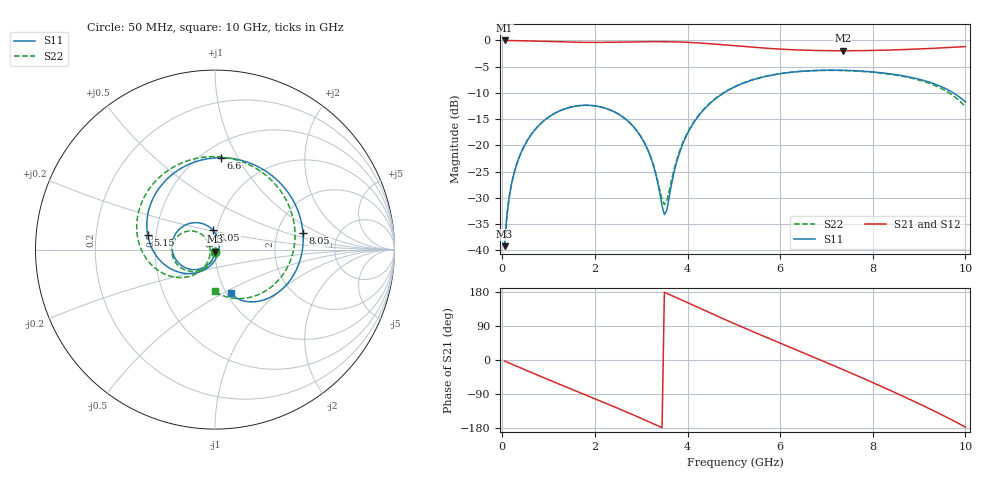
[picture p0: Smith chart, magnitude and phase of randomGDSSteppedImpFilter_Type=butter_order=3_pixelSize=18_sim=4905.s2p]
! freq	dB(S11)	phase(S11)	dB(S12)	phase(S12)
!  dB(S21)	phase(S21)	dB(S22)	phase(S22)
!S-par simulation data
#  GHz  S  DB  R 50
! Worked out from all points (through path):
!   200 points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, 50 MHz to 10 GHz, reference 50 ohm
!   highest |S21| = -0.01 dB at 50 MHz (marker M1); lowest = -2.0 dB at 7.35 GHz (marker M2)
!   group delay of S21, straight-line fit = 148 ps
!   lowest |S11| = -39.2 dB at 50 MHz (marker M3), VSWR 1.02, Z = 49.9 - j1.1 ohm
!   |S11| at or under -10 dB: start of sweep to 4.784 GHz; 9.741 GHz to end of sweep
!   |S22| runs from -39.2 to -5.7 dB; largest |S21 - S12| = 0
!   S11 on the Smith chart (normalised r, x): 50 MHz: 1.00, -0.02; 3.05 GHz: 0.95, +0.21; 5.15 GHz: 0.45, +0.08; 6.6 GHz: 0.61, +0.85; 8.05 GHz: 2.79, +0.70; 10 GHz: 1.05, -0.55
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0.05  -39.19 -92.0  -0.01 -2.7  -0.01 -2.7  -39.18 -91.8
0.2  -27.31 -101.2  -0.03 -10.6  -0.03 -10.6  -27.30 -100.1
0.5  -19.67 -118.1  -0.08 -26.3  -0.08 -26.3  -19.66 -115.4
1.15  -13.79 -153.6  -0.26 -59.7  -0.26 -59.7  -13.79 -147.1
1.75  -12.36 174.2  -0.37 -89.8  -0.37 -89.8  -12.36 -175.1
2.4  -13.52 138.3  -0.34 -122.6  -0.34 -122.6  -13.52 155.7
3.05  -19.20 96.5  -0.25 -156.7  -0.25 -156.7  -19.18 131.0
3.4  -29.05 49.7  -0.23 -175.7  -0.23 -175.7  -28.42 144.9
3.5  -33.16 -0.7  -0.24 178.8  -0.24 178.8  -31.28 -179.0
3.8  -22.13 -100.0  -0.29 162.2  -0.29 162.2  -21.77 -120.7
4.05  -16.90 -122.2  -0.38 148.3  -0.38 148.3  -16.72 -124.8
4.55  -11.50 -155.8  -0.67 120.7  -0.67 120.7  -11.41 -145.1
5.05  -8.72 173.9  -1.04 93.8  -1.04 93.8  -8.66 -167.9
5.15  -8.33 168.0  -1.11 88.5  -1.11 88.5  -8.27 -172.5
5.9  -6.48 125.2  -1.60 49.7  -1.60 49.7  -6.45 153.2
6.6  -5.80 86.5  -1.88 13.9  -1.88 13.9  -5.80 120.9
6.7  -5.75 81.1  -1.90 8.7  -1.90 8.7  -5.76 116.2
7.35  -5.69 46.4  -1.97 -24.9  -1.97 -24.9  -5.73 84.3
8.05  -6.04 10.8  -1.90 -62.3  -1.90 -62.3  -6.12 46.7
8.35  -6.33 -3.7  -1.83 -78.7  -1.83 -78.7  -6.43 29.2
9.15  -7.75 -39.8  -1.57 -124.2  -1.57 -124.2  -7.96 -22.1
10  -11.70 -69.9  -1.18 -177.0  -1.18 -177.0  -12.67 -90.7
